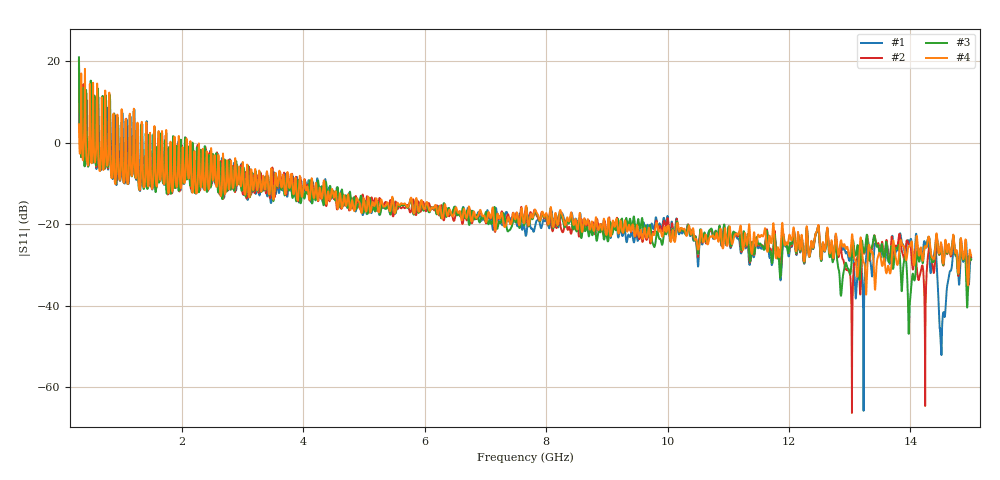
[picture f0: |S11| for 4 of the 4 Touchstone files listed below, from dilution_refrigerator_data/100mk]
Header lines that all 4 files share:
# GHZ S RI R 50.0
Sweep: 300 MHz to 15 GHz
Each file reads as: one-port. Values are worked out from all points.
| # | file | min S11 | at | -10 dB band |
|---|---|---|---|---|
| 1 | port1_100mk_repeat1.s1p | -65.7 dB | 13.23 GHz | over 10.63 GHz wide |
| 2 | port3_100mk_repeat1.s1p | -66.3 dB | 13.04 GHz | over 10.66 GHz wide |
| 3 | port4_100mk.s1p | -46.8 dB | 13.97 GHz | over 10.62 GHz wide |
| 4 | port5_100mk_repeat1.s1p | -37.2 dB | 13.27 GHz | over 10.65 GHz wide |
